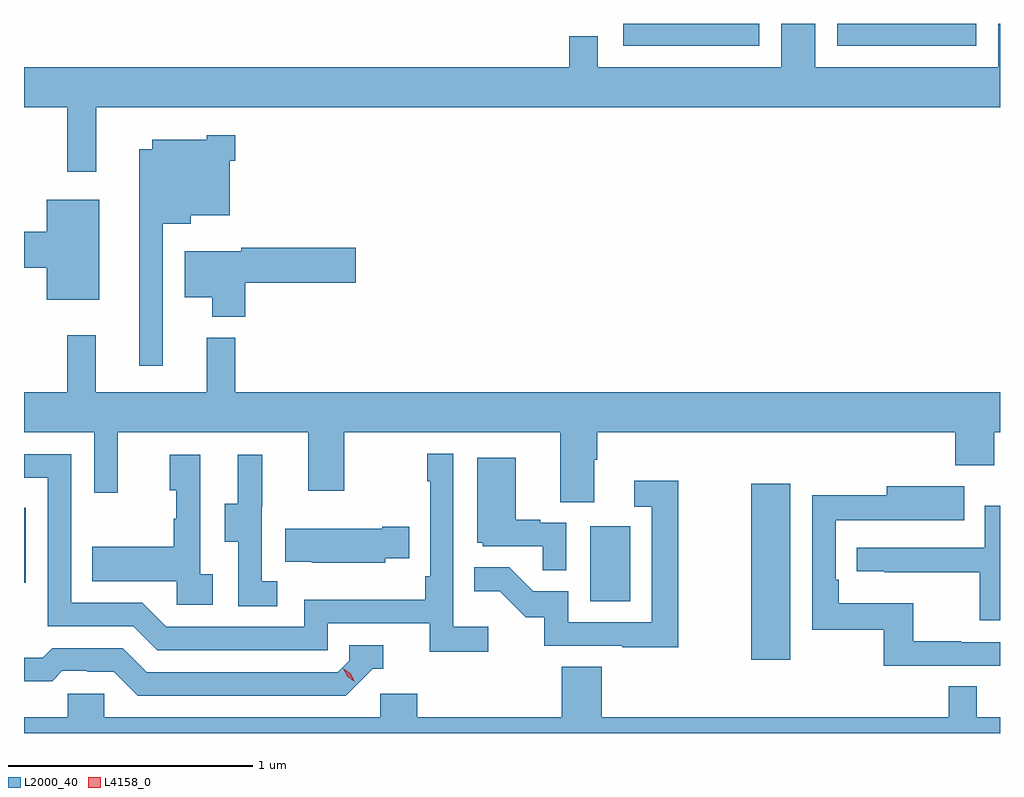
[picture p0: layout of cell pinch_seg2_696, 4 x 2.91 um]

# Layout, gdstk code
import gdstk
lib = gdstk.Library(unit=1e-6, precision=1e-09)
def R(c, l, rs):  # rectangles x0, y0, x1, y1
    for r in rs: c.add(gdstk.rectangle(r[:2], r[2:], *l))
def P(c, l, *ps):  # polygons
    for p in ps: c.add(gdstk.Polygon(p, *l))
L2000_40 = (2000, 40)
L4158_0 = (4158, 0)

pinch_seg2_696 = lib.new_cell('pinch_seg2_696')
R(pinch_seg2_696, L2000_40, [(1132.61,584.1,1132.771,584.821), (1131.95,584.34,1132.114,584.647), (1129.63,584.415,1129.638,584.724), (1132.086,586.617,1132.644,586.706), (1132.962,586.617,1133.532,586.706)])
P(pinch_seg2_696, L2000_40, [(1129.926,586.364),(1133.63,586.364),(1133.63,586.706),(1133.622,586.706),(1133.622,586.528),(1132.872,586.528),(1132.872,586.706),(1132.733,586.706),(1132.733,586.528),(1131.981,586.528),(1131.981,586.655),(1131.865,586.655),(1131.865,586.528),(1129.63,586.528),(1129.63,586.364),(1129.807,586.364),(1129.807,586.101),(1129.926,586.101)],
  [(1130.199,585.887),(1130.314,585.887),(1130.314,585.923),(1130.473,585.923),(1130.473,586.145),(1130.495,586.145),(1130.495,586.249),(1130.379,586.249),(1130.379,586.231),(1130.156,586.231),(1130.156,586.192),(1130.102,586.192),(1130.102,585.306),(1130.199,585.306)],
  [(1129.939,585.985),(1129.724,585.985),(1129.724,585.854),(1129.63,585.854),(1129.63,585.707),(1129.724,585.707),(1129.724,585.575),(1129.939,585.575)],
  [(1130.537,585.646),(1130.989,585.646),(1130.989,585.788),(1130.52,585.788),(1130.52,585.775),(1130.288,585.775),(1130.288,585.587),(1130.402,585.587),(1130.402,585.506),(1130.537,585.506)],
  [(1131.967,584.92),(1131.98,584.92),(1131.98,585.032),(1133.447,585.032),(1133.447,584.897),(1133.607,584.897),(1133.607,585.032),(1133.63,585.032),(1133.63,585.196),(1130.495,585.196),(1130.495,585.421),(1130.378,585.421),(1130.378,585.196),(1129.925,585.196),(1129.925,585.43),(1129.807,585.43),(1129.807,585.196),(1129.63,585.196),(1129.63,585.032),(1129.917,585.032),(1129.917,584.784),(1130.015,584.784),(1130.015,585.032),(1130.795,585.032),(1130.795,584.793),(1130.943,584.793),(1130.943,585.032),(1131.827,585.032),(1131.827,584.746),(1131.967,584.746)],
  [(1131.532,584.236),(1131.39,584.236),(1131.39,584.944),(1131.282,584.944),(1131.282,584.831),(1131.294,584.831),(1131.294,584.443),(1131.274,584.443),(1131.274,584.347),(1130.778,584.347),(1130.778,584.235),(1130.214,584.235),(1130.115,584.334),(1129.824,584.334),(1129.824,584.943),(1129.63,584.943),(1129.63,584.847),(1129.728,584.847),(1129.728,584.238),(1130.078,584.238),(1130.177,584.139),(1130.874,584.139),(1130.874,584.25),(1131.293,584.25),(1131.293,584.134),(1131.532,584.134)],
  [(1130.668,584.423),(1130.604,584.423),(1130.604,584.727),(1130.606,584.727),(1130.606,584.941),(1130.507,584.941),(1130.507,584.739),(1130.453,584.739),(1130.453,584.584),(1130.508,584.584),(1130.508,584.32),(1130.668,584.32)],
  [(1130.404,584.45),(1130.352,584.45),(1130.352,584.941),(1130.228,584.941),(1130.228,584.796),(1130.254,584.796),(1130.254,584.678),(1130.244,584.678),(1130.244,584.563),(1129.909,584.563),(1129.909,584.423),(1130.256,584.423),(1130.256,584.325),(1130.404,584.325)],
  [(1131.852,584.661),(1131.746,584.661),(1131.746,584.674),(1131.646,584.674),(1131.646,584.929),(1131.488,584.929),(1131.488,584.58),(1131.51,584.58),(1131.51,584.565),(1131.757,584.565),(1131.757,584.467),(1131.852,584.467)],
  [(1132.312,584.833),(1132.131,584.833),(1132.131,584.727),(1132.203,584.727),(1132.203,584.253),(1131.861,584.253),(1131.861,584.382),(1131.717,584.382),(1131.619,584.48),(1131.475,584.48),(1131.475,584.381),(1131.579,584.381),(1131.686,584.274),(1131.763,584.274),(1131.763,584.157),(1132.081,584.157),(1132.081,584.152),(1132.312,584.152)],
  [(1133.63,584.172),(1133.471,584.172),(1133.471,584.177),(1133.275,584.177),(1133.275,584.332),(1132.97,584.332),(1132.97,584.428),(1132.956,584.428),(1132.956,584.673),(1133.269,584.673),(1133.269,584.672),(1133.483,584.672),(1133.483,584.812),(1133.165,584.812),(1133.165,584.774),(1132.86,584.774),(1132.86,584.223),(1133.154,584.223),(1133.154,584.076),(1133.63,584.076)],
  [(1133.63,584.731),(1133.568,584.731),(1133.568,584.559),(1133.043,584.559),(1133.043,584.463),(1133.155,584.463),(1133.155,584.458),(1133.548,584.458),(1133.548,584.262),(1133.63,584.262)],
  [(1131.111,584.516),(1131.209,584.516),(1131.209,584.646),(1131.098,584.646),(1131.098,584.638),(1130.701,584.638),(1130.701,584.501),(1130.809,584.501),(1130.809,584.498),(1131.111,584.498)],
  [(1131.06,584.064),(1131.103,584.064),(1131.103,584.16),(1130.964,584.16),(1130.964,584.097),(1130.916,584.049),(1130.133,584.049),(1130.034,584.148),(1129.745,584.148),(1129.706,584.109),(1129.63,584.109),(1129.63,584.013),(1129.745,584.013),(1129.787,584.055),(1129.89,584.055),(1129.89,584.052),(1129.997,584.052),(1130.096,583.953),(1130.949,583.953)],
  [(1133.63,583.864),(1133.535,583.864),(1133.535,583.991),(1133.419,583.991),(1133.419,583.864),(1131.998,583.864),(1131.998,584.072),(1131.833,584.072),(1131.833,583.864),(1131.242,583.864),(1131.242,583.962),(1131.09,583.962),(1131.09,583.864),(1129.959,583.864),(1129.959,583.962),(1129.809,583.962),(1129.809,583.864),(1129.63,583.864),(1129.63,583.8),(1133.63,583.8)])
P(pinch_seg2_696, L4158_0, [(1130.986,584.01),(1130.956,584.03),(1130.939,584.063),(1130.939,584.063),(1130.94,584.063),(1130.97,584.043),(1130.986,584.011),(1130.986,584.01)])

lib.write_gds('pinch_seg2_696.gds')
